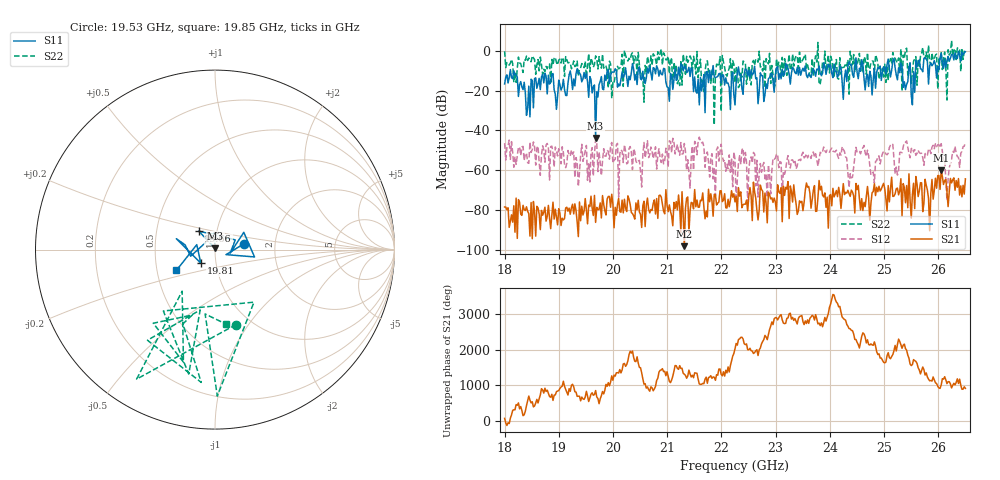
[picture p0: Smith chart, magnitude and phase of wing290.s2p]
!Keysight Technologies,N5242B,MY47200105,A.14.00.23
!Date: Friday, May 10, 2024 11:16:32
!Correction: S11(C  2-Port  )
!S21(C  2-Port  )
!S12(C  2-Port  )
!S22(C  2-Port  )
!S2P File: Measurement: :
# Hz S  RI  R 50
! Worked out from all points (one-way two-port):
!   401 points, 18 GHz to 26.5 GHz, reference 50 ohm
!   highest |S21| = -60.00 dB at 26.05 GHz (marker M1); lowest = -98.1 dB at 21.32 GHz (marker M2)
!   lowest |S11| = -43.8 dB at 19.68 GHz (marker M3), VSWR 1.01, Z = 50.1 + j0.633 ohm
!   |S11| at or under -10 dB: 18.11 GHz to 19.33 GHz (1.222 GHz wide, 6.53 % of centre); 19.35 GHz to 19.9 GHz (552.1 MHz wide, 2.81 % of centre); 21.86 GHz to 22.3 GHz (444.6 MHz wide, 2.01 % of centre) (the widest 3 of 57)
!   |S22| runs from -37.3 to 5.1 dB; largest |S21 - S12| = 0.0068
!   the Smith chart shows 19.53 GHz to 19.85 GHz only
!   S11 on the Smith chart (normalised r, x): 19.53 GHz: 1.38, +0.09; 19.66 GHz: 0.82, +0.17; 19.81 GHz: 0.84, -0.13; 19.85 GHz: 0.63, -0.16
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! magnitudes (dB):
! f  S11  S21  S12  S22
! 18 GHz  -16.7  -78.4  -46.4  -0.2
! 18.43 GHz  -29.0  -80.6  -56.2  -4.9
! 19.42 GHz  -15.6  -78.0  -46.9  -6.5
! 19.53 GHz  -15.8  -86.8  -65.1  -7.3
! 19.66 GHz  -17.2  -72.6  -52.1  -6.9
! 19.68 GHz  -43.8  -86.1  -44.4  -2.6
! 19.81 GHz  -19.2  -72.7  -55.4  -1.8
! 19.85 GHz  -12.3  -80.2  -52.9  -7.6
! 20.55 GHz  -10.3  -77.7  -52.1  -13.7
! 20.85 GHz  -12.8  -72.7  -49.2  -4.5
! 21.32 GHz  -8.1  -98.1  -46.5  -5.2
! 21.61 GHz  -13.5  -75.0  -45.2  -4.3
! 22.25 GHz  -27.2  -75.8  -54.3  -16.0
! 23.67 GHz  -10.9  -74.8  -51.2  -3.9
! 24.23 GHz  -15.6  -73.0  -48.2  -8.5
! 24.38 GHz  -7.2  -73.1  -61.7  -0.3
! 24.5 GHz  -11.1  -69.7  -51.1  -7.3
! 24.78 GHz  -22.2  -71.3  -61.6  -5.2
! 25.1 GHz  -8.9  -75.8  -48.6  -6.2
! 26.05 GHz  -1.3  -60.0  -46.7  -0.6
! 26.18 GHz  -3.0  -78.2  -64.2  0.5
! 26.5 GHz  -0.6  -64.3  -45.9  0.4
